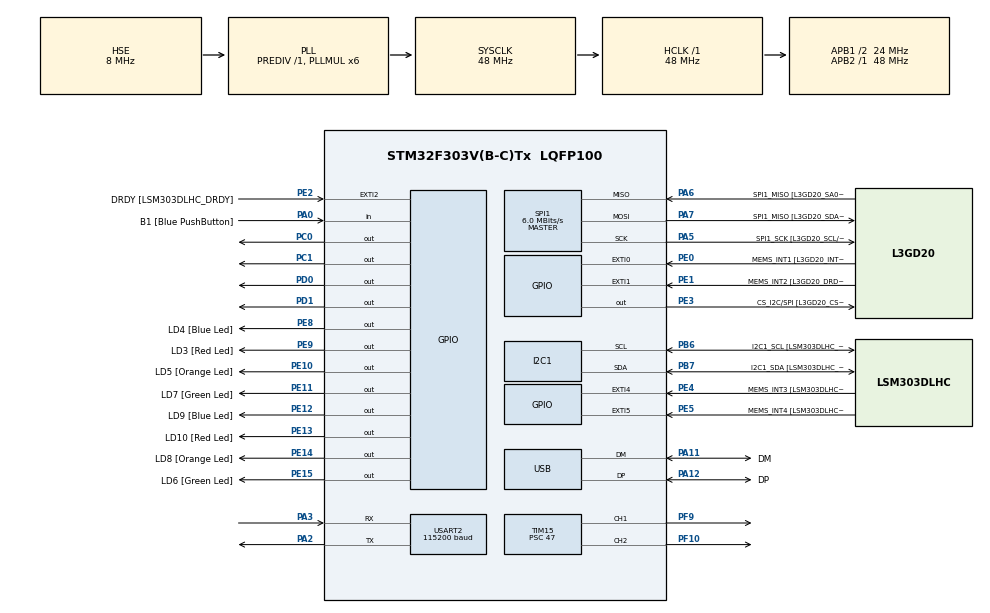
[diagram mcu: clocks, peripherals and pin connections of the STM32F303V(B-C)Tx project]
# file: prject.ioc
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I2C1.Timing=0x00201D2B
I2C1.Timing-I2C=0x2000090E
Mcu.Family=STM32F3
Mcu.Name=STM32F303V(B-C)Tx
Mcu.Package=LQFP100
NVIC.PriorityGroup=NVIC_PRIORITYGROUP_0
NVIC.TIM2_IRQn=true\:0\:0\:false\:false\:true\:true\:true\:true
NVIC.USART2_IRQn=true\:0\:0\:false\:false\:true\:true\:true\:true
PA0.GPIO_Label=B1 [Blue PushButton]
PA0.Signal=GPIO_Input
PA11.GPIO_Label=DM
PA11.Mode=Device
PA11.Signal=USB_DM
PA12.GPIO_Label=DP
PA12.Mode=Device
PA12.Signal=USB_DP
PA13.GPIO_Label=SWDIO
PA13.Mode=Serial_Wire
PA13.Signal=SYS_JTMS-SWDIO
PA14.GPIO_Label=SWCLK
PA14.Mode=Serial_Wire
PA14.Signal=SYS_JTCK-SWCLK
PA2.Mode=Asynchronous
PA2.Signal=USART2_TX
PA3.Mode=Asynchronous
PA3.Signal=USART2_RX
PA5.GPIO_Label=SPI1_SCK [L3GD20_SCL/SPC]
PA5.Mode=Full_Duplex_Master
PA5.Signal=SPI1_SCK
PA6.GPIO_Label=SPI1_MISO [L3GD20_SA0/SDO]
PA6.Mode=Full_Duplex_Master
PA6.Signal=SPI1_MISO
PA7.GPIO_Label=SPI1_MISO [L3GD20_SDA/SDI/SDO]
PA7.Mode=Full_Duplex_Master
PA7.Signal=SPI1_MOSI
PB3.GPIO_Label=SWO
PB3.Signal=SYS_JTDO-TRACESWO
PB6.GPIO_Label=I2C1_SCL [LSM303DLHC_SCL]
PB6.GPIO_Pu=GPIO_PULLUP
PB6.Mode=I2C
PB6.Signal=I2C1_SCL
PB7.GPIO_Label=I2C1_SDA [LSM303DLHC_SDA]
PB7.GPIO_Pu=GPIO_PULLUP
PB7.Mode=I2C
PB7.Signal=I2C1_SDA
PC0.Signal=GPIO_Output
PC1.Signal=GPIO_Output
PC14-OSC32_IN.GPIO_Label=OSC32_IN
PC14-OSC32_IN.Signal=RCC_OSC32_IN
PC15-OSC32_OUT.GPIO_Label=OSC32_OUT
PC15-OSC32_OUT.Signal=RCC_OSC32_OUT
PC6.Signal=S_TIM3_CH1
PC7.Signal=S_TIM3_CH2
PD0.Signal=GPIO_Output
PD1.Signal=GPIO_Output
PE0.GPIO_Label=MEMS_INT1 [L3GD20_INT1]
PE0.GPIO_ModeDefaultEXTI=GPIO_MODE_EVT_RISING
PE0.Signal=GPXTI0
PE1.GPIO_Label=MEMS_INT2 [L3GD20_DRDY/INT2]
PE1.GPIO_ModeDefaultEXTI=GPIO_MODE_EVT_RISING
PE1.Signal=GPXTI1
PE10.GPIO_Label=LD5 [Orange Led]
PE10.Signal=GPIO_Output
PE11.GPIO_Label=LD7 [Green Led]
PE11.Signal=GPIO_Output
PE12.GPIO_Label=LD9 [Blue Led]
PE12.Signal=GPIO_Output
PE13.GPIO_Label=LD10 [Red Led]
PE13.Signal=GPIO_Output
PE14.GPIO_Label=LD8 [Orange Led]
PE14.Signal=GPIO_Output
PE15.GPIO_Label=LD6 [Green Led]
PE15.Signal=GPIO_Output
PE2.GPIO_Label=DRDY [LSM303DLHC_DRDY]
PE2.GPIO_ModeDefaultEXTI=GPIO_MODE_EVT_RISING
PE2.Signal=GPXTI2
PE3.GPIO_Label=CS_I2C/SPI [L3GD20_CS_I2C/SPI]
PE3.Signal=GPIO_Output
PE4.GPIO_Label=MEMS_INT3 [LSM303DLHC_INT1]
PE4.GPIO_ModeDefaultEXTI=GPIO_MODE_EVT_RISING
PE4.Signal=GPXTI4
PE5.GPIO_Label=MEMS_INT4 [LSM303DLHC_INT2]
PE5.GPIO_ModeDefaultEXTI=GPIO_MODE_EVT_RISING
PE5.Signal=GPXTI5
PE8.GPIO_Label=LD4 [Blue Led]
PE8.Signal=GPIO_Output
PE9.GPIO_Label=LD3 [Red Led]
PE9.Signal=GPIO_Output
PF0-OSC_IN.GPIO_Label=OSC_IN
PF0-OSC_IN.Mode=HSE-External-Clock-Source
PF0-OSC_IN.Signal=RCC_OSC_IN
PF1-OSC_OUT.GPIO_Label=OSC_OUT
PF1-OSC_OUT.Signal=RCC_OSC_OUT
PF10.Signal=S_TIM15_CH2
PF9.Signal=S_TIM15_CH1
ProjectManager.HeapSize=0x200
ProjectManager.StackSize=0x400
ProjectManager.TargetToolchain=CMake
RCC.AHBFreq_Value=48000000
RCC.APB1CLKDivider=RCC_HCLK_DIV2
RCC.APB1Freq_Value=24000000
RCC.APB1TimFreq_Value=48000000
RCC.APB2Freq_Value=48000000
RCC.APB2TimFreq_Value=48000000
RCC.CortexFreq_Value=48000000
RCC.HCLKFreq_Value=48000000
RCC.HSE_VALUE=8000000
RCC.HSI_VALUE=8000000
RCC.LSE_VALUE=32768
RCC.PLLMUL=RCC_PLL_MUL6
RCC.SYSCLKFreq_VALUE=48000000
RCC.SYSCLKSourceVirtual=RCC_SYSCLKSOURCE_PLLCLK
RCC.USBFreq_Value=48000000
SH.S_TIM15_CH1.0=TIM15_CH1,PWM Generation1 CH1
SH.S_TIM15_CH2.0=TIM15_CH2,PWM Generation2 CH2
SH.S_TIM3_CH1.0=TIM3_CH1
SH.S_TIM3_CH2.0=TIM3_CH2
SPI1.BaudRatePrescaler=SPI_BAUDRATEPRESCALER_8
SPI1.BaudRatePrescaler-Full_Duplex_Master=SPI_BAUDRATEPRESCALER_2
SPI1.CLKPhase=SPI_PHASE_2EDGE
SPI1.CLKPolarity=SPI_POLARITY_HIGH
SPI1.CRCCalculation=SPI_CRCCALCULATION_DISABLE
SPI1.CalculateBaudRate=6.0 MBits/s
SPI1.CalculateBaudRate-Full_Duplex_Master=24.0 MBits/s
SPI1.DataSize=SPI_DATASIZE_8BIT
SPI1.Direction=SPI_DIRECTION_2LINES
SPI1.Mode=SPI_MODE_MASTER
SPI1.Mode-Full_Duplex_Master=SPI_MODE_MASTER
SPI1.VirtualType=VM_MASTER
TIM15.Channel-PWM\ Generation1\ CH1=TIM_CHANNEL_1
TIM15.Channel-PWM\ Generation2\ CH2=TIM_CHANNEL_2
TIM15.Period=999
TIM15.Prescaler=47
TIM2.Period=99
TIM2.Prescaler=4799
USART2.BaudRate=115200
USART2.VirtualMode-Asynchronous=VM_ASYNC
VP_TIM15_VS_ClockSourceINT.Mode=Internal
VP_TIM2_VS_ClockSourceINT.Mode=Internal
board=STM32F3DISCOVERY

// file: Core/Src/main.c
/* USER CODE BEGIN Header */
/**
  ******************************************************************************
  * @file           : main.c
  * @brief          : Main program body
  ******************************************************************************
  * @attention
  *
  * Copyright (c) 2026 STMicroelectronics.
  * All rights reserved.
  *
  * This software is licensed under terms that can be found in the LICENSE file
  * in the root directory of this software component.
  * If no LICENSE file comes with this software, it is provided AS-IS.
  *
  ******************************************************************************
  */
/* USER CODE END Header */
#include "main.h"

/* USER CODE BEGIN Includes */
#include <stdarg.h>
#include <math.h>
#include <stdint.h>
#include <stdio.h>
#include "imu.h"
#include "pid.h"
#include "stm32f3xx_hal.h"
/* USER CODE END Includes */

/* USER CODE BEGIN PD */
#define TELEMETRY_DIVIDER  2U   // 100 Hz / 2 = 50 Hz UART output
#define BALANCE_SETPOINT_DEG      0.0f   // default upright setpoint
#define DRIVE_SETPOINT_STEP_DEG   1.0f   // degrees shifted per F/B command
#define DRIVE_SETPOINT_MAX_DEG    4.0f  // max lean allowed via UART command
#define BALANCE_PID_KP            10.05f
#define BALANCE_PID_KI            0.08f
#define BALANCE_PID_KD            0.205f
#define BALANCE_CMD_LIMIT_PERCENT  100.0f
#define BALANCE_FALL_LIMIT_DEG     45.0f
#define MOTOR_DEADBAND_PERCENT     0.0f

// Direction-specific drive gains (tune these to handle asymmetry).
// Positive command: IN1=1, IN2=0. Negative command: IN1=0, IN2=1.
#define LEFT_CMD_GAIN_POS_DIR      1.0f
#define RIGHT_CMD_GAIN_POS_DIR     1.0f
#define LEFT_CMD_GAIN_NEG_DIR      1.0f
#define RIGHT_CMD_GAIN_NEG_DIR     1.0f

/* USER CODE END PD */

I2C_HandleTypeDef hi2c1;

SPI_HandleTypeDef hspi1;

TIM_HandleTypeDef htim2;
TIM_HandleTypeDef htim15;

UART_HandleTypeDef huart2;

PCD_HandleTypeDef hpcd_USB_FS;

/* USER CODE BEGIN PV */
struct imu_output output;
PID_Controller balance_pid;
PID_Controller speed_pid;
volatile uint8_t imu_ready = 0;
static uint8_t telemetry_counter = 0;

/* UART2 RX: single-byte interrupt buffer and live setpoint */
static uint8_t uart2_rx_byte = 0;
volatile float g_balance_setpoint = BALANCE_SETPOINT_DEG;
/* USER CODE END PV */

void SystemClock_Config(void);
static void MX_GPIO_Init(void);
static void MX_I2C1_Init(void);
static void MX_SPI1_Init(void);
static void MX_TIM2_Init(void);
static void MX_USART2_UART_Init(void);
static void MX_TIM15_Init(void);
static void MX_USB_PCD_Init(void);
/* USER CODE BEGIN PFP */
static uint32_t Motor_Left_ApplyCommand(float command_percent);
static uint32_t Motor_Right_ApplyCommand(float command_percent);
static void Robot_Stop_All(void);

/* USER CODE END PFP */

/* USER CODE BEGIN 0 */

static float ClampFloat(float value, float min_value, float max_value)
{
  if (value < min_value)
  {
    return min_value;
  }
  if (value > max_value)
  {
    return max_value;
  }
  return value;
}

static float ApplyDirectionalGain(float command_percent,
                                  float positive_gain,
                                  float negative_gain)
{
  if (command_percent >= 0.0f)
  {
    return command_percent * positive_gain;
  }
  return command_percent * negative_gain;
}

static uint32_t Motor_Left_ApplyCommand(float command_percent)
{
  command_percent = ApplyDirectionalGain(command_percent,
                                         LEFT_CMD_GAIN_POS_DIR,
                                         LEFT_CMD_GAIN_NEG_DIR);
  command_percent = ClampFloat(command_percent, -100.0f, 100.0f);

  if (fabsf(command_percent) < MOTOR_DEADBAND_PERCENT)
  {
    HAL_GPIO_WritePin(LEFT_MOTOR_IN1_GPIO_Port, LEFT_MOTOR_IN1_Pin, GPIO_PIN_RESET);
    HAL_GPIO_WritePin(LEFT_MOTOR_IN2_GPIO_Port, LEFT_MOTOR_IN2_Pin, GPIO_PIN_RESET);
    __HAL_TIM_SET_COMPARE(&htim15, LEFT_PWM_CHANNEL, 0U);
    return 0U;
  }

  if (command_percent > 0.0f)
  {
    HAL_GPIO_WritePin(LEFT_MOTOR_IN1_GPIO_Port, LEFT_MOTOR_IN1_Pin, GPIO_PIN_SET);
    HAL_GPIO_WritePin(LEFT_MOTOR_IN2_GPIO_Port, LEFT_MOTOR_IN2_Pin, GPIO_PIN_RESET);
  }
  else
  {
    HAL_GPIO_WritePin(LEFT_MOTOR_IN1_GPIO_Port, LEFT_MOTOR_IN1_Pin, GPIO_PIN_RESET);
    HAL_GPIO_WritePin(LEFT_MOTOR_IN2_GPIO_Port, LEFT_MOTOR_IN2_Pin, GPIO_PIN_SET);
  }

    uint32_t pulse = (uint32_t)(fabsf(command_percent) * 10);
  __HAL_TIM_SET_COMPARE(&htim15, LEFT_PWM_CHANNEL, pulse);
  return pulse;
}

static uint32_t Motor_Right_ApplyCommand(float command_percent)
{
  command_percent = ApplyDirectionalGain(command_percent,
                                         RIGHT_CMD_GAIN_POS_DIR,
                                         RIGHT_CMD_GAIN_NEG_DIR);
  command_percent = ClampFloat(command_percent, -100.0f, 100.0f);

  if (fabsf(command_percent) < MOTOR_DEADBAND_PERCENT)
  {
    HAL_GPIO_WritePin(RIGHT_MOTOR_IN1_GPIO_Port, RIGHT_MOTOR_IN1_Pin, GPIO_PIN_RESET);
    HAL_GPIO_WritePin(RIGHT_MOTOR_IN2_GPIO_Port, RIGHT_MOTOR_IN2_Pin, GPIO_PIN_RESET);
    __HAL_TIM_SET_COMPARE(&htim15, RIGHT_PWM_CHANNEL, 0U);
    return 0U;
  }

  if (command_percent > 0.0f)
  {
    HAL_GPIO_WritePin(RIGHT_MOTOR_IN1_GPIO_Port, RIGHT_MOTOR_IN1_Pin, GPIO_PIN_SET);
    HAL_GPIO_WritePin(RIGHT_MOTOR_IN2_GPIO_Port, RIGHT_MOTOR_IN2_Pin, GPIO_PIN_RESET);
  }
  else
  {
    HAL_GPIO_WritePin(RIGHT_MOTOR_IN1_GPIO_Port, RIGHT_MOTOR_IN1_Pin, GPIO_PIN_RESET);
    HAL_GPIO_WritePin(RIGHT_MOTOR_IN2_GPIO_Port, RIGHT_MOTOR_IN2_Pin, GPIO_PIN_SET);
  }

  uint32_t pulse = (uint32_t)((fabsf(command_percent) * 10));
  __HAL_TIM_SET_COMPARE(&htim15, RIGHT_PWM_CHANNEL, pulse);
  return pulse;
}

static void Robot_Stop_All(void)
{
  HAL_GPIO_WritePin(LEFT_MOTOR_IN1_GPIO_Port, LEFT_MOTOR_IN1_Pin, GPIO_PIN_RESET);
  HAL_GPIO_WritePin(LEFT_MOTOR_IN2_GPIO_Port, LEFT_MOTOR_IN2_Pin, GPIO_PIN_RESET);
  HAL_GPIO_WritePin(RIGHT_MOTOR_IN1_GPIO_Port, RIGHT_MOTOR_IN1_Pin, GPIO_PIN_RESET);
  HAL_GPIO_WritePin(RIGHT_MOTOR_IN2_GPIO_Port, RIGHT_MOTOR_IN2_Pin, GPIO_PIN_RESET);
  __HAL_TIM_SET_COMPARE(&htim15, LEFT_PWM_CHANNEL, 0U);
  __HAL_TIM_SET_COMPARE(&htim15, RIGHT_PWM_CHANNEL, 0U);
}
void myPrintf (const char *fmt , ...){
      char buffer[256];
      va_list args;
      va_start (args, fmt);
      int len = vsnprintf (buffer, sizeof(buffer), fmt, args);
      va_end (args);
      HAL_UART_Transmit(&huart2, (uint8_t*)buffer, len, HAL_MAX_DELAY);
}

void HAL_TIM_PeriodElapsedCallback(TIM_HandleTypeDef *htim)
{
    if (htim->Instance == TIM2)
    {
      if (imu_ready == 0)
      {
        return;
      }

      // --- Begin control loop (was in main loop) ---
      // Encoder_UpdateDeltas();
      output = IMU_UpdateAngle(&hspi1, &hi2c1);

      if (fabsf(output.tilt_angle) > BALANCE_FALL_LIMIT_DEG)
      {
        Robot_Stop_All();
      }
      else
      {
        float balance_command = PID_Update(&balance_pid,
                           g_balance_setpoint,
                           output.tilt_angle,
                           DT);

        Motor_Left_ApplyCommand(-balance_command);
        Motor_Right_ApplyCommand(-balance_command);
        telemetry_counter++;
        if (telemetry_counter >= TELEMETRY_DIVIDER)
        {
          telemetry_counter = 0;
          myPrintf("tilt=%.2f gyro=%.2f acc=%.2f, setpoint=%.2f\r\n",
             output.tilt_angle,
             output.gyro_x,
             output.acc_x,
             g_balance_setpoint);
        }
      }
      // --- End control loop ---
    }
}

/**
  * @brief UART2 RX complete callback — handles one received byte.
  *        Commands:
  *          'F' = lean forward  (setpoint += DRIVE_SETPOINT_STEP_DEG)
  *          'B' = lean backward (setpoint -= DRIVE_SETPOINT_STEP_DEG)
  *          '0' = stop / reset setpoint to 0
  * Re-arms the single-byte interrupt receive automatically.
  */
void HAL_UART_RxCpltCallback(UART_HandleTypeDef *huart)
{
  if (huart->Instance == USART2)
  {
    switch (uart2_rx_byte)
    {
      case 'F':
        g_balance_setpoint += DRIVE_SETPOINT_STEP_DEG;
        if (g_balance_setpoint > DRIVE_SETPOINT_MAX_DEG)
          g_balance_setpoint = DRIVE_SETPOINT_MAX_DEG;
        break;

      case 'B':
        g_balance_setpoint -= DRIVE_SETPOINT_STEP_DEG;
        if (g_balance_setpoint < -DRIVE_SETPOINT_MAX_DEG)
          g_balance_setpoint = -DRIVE_SETPOINT_MAX_DEG;
        break;

      case '0':
        g_balance_setpoint = 0.0f;
        break;
    }
    /* Re-arm the interrupt receive for the next byte */
    HAL_UART_Receive_IT(&huart2, &uart2_rx_byte, 1);
  }
}

/* USER CODE END 0 */

int main(void)
{

  /* MCU Configuration--------------------------------------------------------*/

  /* Reset of all peripherals, Initializes the Flash interface and the Systick. */
  HAL_Init();

  /* Configure the system clock */
  SystemClock_Config();

  /* Initialize all configured peripherals */
  MX_GPIO_Init();
  MX_I2C1_Init();
  MX_SPI1_Init();
  MX_TIM2_Init();
  MX_USART2_UART_Init();
  MX_TIM15_Init();
  MX_USB_PCD_Init();
  /* USER CODE BEGIN 2 */
  IMU_Init(&hspi1, &hi2c1);
  PID_Init(&balance_pid,
           BALANCE_PID_KP,
           BALANCE_PID_KI,
           BALANCE_PID_KD,
           -BALANCE_CMD_LIMIT_PERCENT,
           BALANCE_CMD_LIMIT_PERCENT);
  PID_SetIntegralLimits(&balance_pid, -20.0f, 20.0f);
  HAL_TIM_PWM_Start(&htim15, LEFT_PWM_CHANNEL);
  HAL_TIM_PWM_Start(&htim15, RIGHT_PWM_CHANNEL);
  Robot_Stop_All();

  myPrintf("Sampling...\r\n");
  IMU_OffsetCalibrate(&hspi1, &hi2c1);  // keep robot still & upright here!
  imu_ready = 1;
  myPrintf("Sampling complete. Streaming angle values.\r\n");

  HAL_TIM_Base_Start_IT(&htim2);        // start 100 Hz timer interrupt

  /* Start UART2 RX interrupt — receives one byte at a time */
  HAL_UART_Receive_IT(&huart2, &uart2_rx_byte, 1);
  /* USER CODE END 2 */

  /* Infinite loop */
  /* USER CODE BEGIN WHILE */
  while (1)
  {
    // Main loop is now empty; all control logic is in TIM2 ISR
    /* USER CODE END WHILE */

  }
}

void SystemClock_Config(void)
{
  RCC_OscInitTypeDef RCC_OscInitStruct = {0};
  RCC_ClkInitTypeDef RCC_ClkInitStruct = {0};
  RCC_PeriphCLKInitTypeDef PeriphClkInit = {0};

  /** Initializes the RCC Oscillators according to the specified parameters
  * in the RCC_OscInitTypeDef structure.
  */
  RCC_OscInitStruct.OscillatorType = RCC_OSCILLATORTYPE_HSI|RCC_OSCILLATORTYPE_HSE;
  RCC_OscInitStruct.HSEState = RCC_HSE_BYPASS;
  RCC_OscInitStruct.HSEPredivValue = RCC_HSE_PREDIV_DIV1;
  RCC_OscInitStruct.HSIState = RCC_HSI_ON;
  RCC_OscInitStruct.HSICalibrationValue = RCC_HSICALIBRATION_DEFAULT;
  RCC_OscInitStruct.PLL.PLLState = RCC_PLL_ON;
  RCC_OscInitStruct.PLL.PLLSource = RCC_PLLSOURCE_HSE;
  RCC_OscInitStruct.PLL.PLLMUL = RCC_PLL_MUL6;
  if (HAL_RCC_OscConfig(&RCC_OscInitStruct) != HAL_OK)
  {
    Error_Handler();
  }

  /** Initializes the CPU, AHB and APB buses clocks
  */
  RCC_ClkInitStruct.ClockType = RCC_CLOCKTYPE_HCLK|RCC_CLOCKTYPE_SYSCLK
                              |RCC_CLOCKTYPE_PCLK1|RCC_CLOCKTYPE_PCLK2;
  RCC_ClkInitStruct.SYSCLKSource = RCC_SYSCLKSOURCE_PLLCLK;
  RCC_ClkInitStruct.AHBCLKDivider = RCC_SYSCLK_DIV1;
  RCC_ClkInitStruct.APB1CLKDivider = RCC_HCLK_DIV2;
  RCC_ClkInitStruct.APB2CLKDivider = RCC_HCLK_DIV1;

  if (HAL_RCC_ClockConfig(&RCC_ClkInitStruct, FLASH_LATENCY_1) != HAL_OK)
  {
    Error_Handler();
  }
  PeriphClkInit.PeriphClockSelection = RCC_PERIPHCLK_USB|RCC_PERIPHCLK_USART2
                              |RCC_PERIPHCLK_I2C1;
  PeriphClkInit.Usart2ClockSelection = RCC_USART2CLKSOURCE_PCLK1;
  PeriphClkInit.I2c1ClockSelection = RCC_I2C1CLKSOURCE_HSI;
  PeriphClkInit.USBClockSelection = RCC_USBCLKSOURCE_PLL;
  if (HAL_RCCEx_PeriphCLKConfig(&PeriphClkInit) != HAL_OK)
  {
    Error_Handler();
  }
}

static void MX_I2C1_Init(void)
{

  hi2c1.Instance = I2C1;
  hi2c1.Init.Timing = 0x00201D2B;
  hi2c1.Init.OwnAddress1 = 0;
  hi2c1.Init.AddressingMode = I2C_ADDRESSINGMODE_7BIT;
  hi2c1.Init.DualAddressMode = I2C_DUALADDRESS_DISABLE;
  hi2c1.Init.OwnAddress2 = 0;
  hi2c1.Init.OwnAddress2Masks = I2C_OA2_NOMASK;
  hi2c1.Init.GeneralCallMode = I2C_GENERALCALL_DISABLE;
  hi2c1.Init.NoStretchMode = I2C_NOSTRETCH_DISABLE;
  if (HAL_I2C_Init(&hi2c1) != HAL_OK)
  {
    Error_Handler();
  }

  /** Configure Analogue filter
  */
  if (HAL_I2CEx_ConfigAnalogFilter(&hi2c1, I2C_ANALOGFILTER_ENABLE) != HAL_OK)
  {
    Error_Handler();
  }

  /** Configure Digital filter
  */
  if (HAL_I2CEx_ConfigDigitalFilter(&hi2c1, 0) != HAL_OK)
  {
    Error_Handler();
  }

}

static void MX_SPI1_Init(void)
{

  /* SPI1 parameter configuration*/
  hspi1.Instance = SPI1;
  hspi1.Init.Mode = SPI_MODE_MASTER;
  hspi1.Init.Direction = SPI_DIRECTION_2LINES;
  hspi1.Init.DataSize = SPI_DATASIZE_8BIT;
  hspi1.Init.CLKPolarity = SPI_POLARITY_HIGH;
  hspi1.Init.CLKPhase = SPI_PHASE_2EDGE;
  hspi1.Init.NSS = SPI_NSS_SOFT;
  hspi1.Init.BaudRatePrescaler = SPI_BAUDRATEPRESCALER_8;
  hspi1.Init.FirstBit = SPI_FIRSTBIT_MSB;
  hspi1.Init.TIMode = SPI_TIMODE_DISABLE;
  hspi1.Init.CRCCalculation = SPI_CRCCALCULATION_DISABLE;
  hspi1.Init.CRCPolynomial = 7;
  hspi1.Init.CRCLength = SPI_CRC_LENGTH_DATASIZE;
  hspi1.Init.NSSPMode = SPI_NSS_PULSE_DISABLE;
  if (HAL_SPI_Init(&hspi1) != HAL_OK)
  {
    Error_Handler();
  }

}

static void MX_TIM2_Init(void)
{

  TIM_ClockConfigTypeDef sClockSourceConfig = {0};
  TIM_MasterConfigTypeDef sMasterConfig = {0};

  htim2.Instance = TIM2;
  htim2.Init.Prescaler = 4799;
  htim2.Init.CounterMode = TIM_COUNTERMODE_UP;
  htim2.Init.Period = 99;
  htim2.Init.ClockDivision = TIM_CLOCKDIVISION_DIV1;
  htim2.Init.AutoReloadPreload = TIM_AUTORELOAD_PRELOAD_DISABLE;
  if (HAL_TIM_Base_Init(&htim2) != HAL_OK)
  {
    Error_Handler();
  }
  sClockSourceConfig.ClockSource = TIM_CLOCKSOURCE_INTERNAL;
  if (HAL_TIM_ConfigClockSource(&htim2, &sClockSourceConfig) != HAL_OK)
  {
    Error_Handler();
  }
  sMasterConfig.MasterOutputTrigger = TIM_TRGO_RESET;
  sMasterConfig.MasterSlaveMode = TIM_MASTERSLAVEMODE_DISABLE;
  if (HAL_TIMEx_MasterConfigSynchronization(&htim2, &sMasterConfig) != HAL_OK)
  {
    Error_Handler();
  }

}

static void MX_TIM15_Init(void)
{

  TIM_ClockConfigTypeDef sClockSourceConfig = {0};
  TIM_MasterConfigTypeDef sMasterConfig = {0};
  TIM_OC_InitTypeDef sConfigOC = {0};
  TIM_BreakDeadTimeConfigTypeDef sBreakDeadTimeConfig = {0};

  htim15.Instance = TIM15;
  htim15.Init.Prescaler = 47;
  htim15.Init.CounterMode = TIM_COUNTERMODE_UP;
  htim15.Init.Period = 999;
  htim15.Init.ClockDivision = TIM_CLOCKDIVISION_DIV1;
  htim15.Init.RepetitionCounter = 0;
  htim15.Init.AutoReloadPreload = TIM_AUTORELOAD_PRELOAD_DISABLE;
  if (HAL_TIM_Base_Init(&htim15) != HAL_OK)
  {
    Error_Handler();
  }
  sClockSourceConfig.ClockSource = TIM_CLOCKSOURCE_INTERNAL;
  if (HAL_TIM_ConfigClockSource(&htim15, &sClockSourceConfig) != HAL_OK)
  {
    Error_Handler();
  }
  if (HAL_TIM_PWM_Init(&htim15) != HAL_OK)
  {
    Error_Handler();
  }
  sMasterConfig.MasterOutputTrigger = TIM_TRGO_RESET;
  sMasterConfig.MasterSlaveMode = TIM_MASTERSLAVEMODE_DISABLE;
  if (HAL_TIMEx_MasterConfigSynchronization(&htim15, &sMasterConfig) != HAL_OK)
  {
    Error_Handler();
  }
  sConfigOC.OCMode = TIM_OCMODE_PWM1;
  sConfigOC.Pulse = 0;
  sConfigOC.OCPolarity = TIM_OCPOLARITY_HIGH;
  sConfigOC.OCNPolarity = TIM_OCNPOLARITY_HIGH;
  sConfigOC.OCFastMode = TIM_OCFAST_DISABLE;
  sConfigOC.OCIdleState = TIM_OCIDLESTATE_RESET;
  sConfigOC.OCNIdleState = TIM_OCNIDLESTATE_RESET;
  if (HAL_TIM_PWM_ConfigChannel(&htim15, &sConfigOC, TIM_CHANNEL_1) != HAL_OK)
  {
    Error_Handler();
  }
  if (HAL_TIM_PWM_ConfigChannel(&htim15, &sConfigOC, TIM_CHANNEL_2) != HAL_OK)
  {
    Error_Handler();
  }
  sBreakDeadTimeConfig.OffStateRunMode = TIM_OSSR_DISABLE;
  sBreakDeadTimeConfig.OffStateIDLEMode = TIM_OSSI_DISABLE;
  sBreakDeadTimeConfig.LockLevel = TIM_LOCKLEVEL_OFF;
  sBreakDeadTimeConfig.DeadTime = 0;
  sBreakDeadTimeConfig.BreakState = TIM_BREAK_DISABLE;
  sBreakDeadTimeConfig.BreakPolarity = TIM_BREAKPOLARITY_HIGH;
  sBreakDeadTimeConfig.BreakFilter = 0;
  sBreakDeadTimeConfig.AutomaticOutput = TIM_AUTOMATICOUTPUT_DISABLE;
  if (HAL_TIMEx_ConfigBreakDeadTime(&htim15, &sBreakDeadTimeConfig) != HAL_OK)
  {
    Error_Handler();
  }
  HAL_TIM_MspPostInit(&htim15);

}

static void MX_USART2_UART_Init(void)
{

  huart2.Instance = USART2;
  huart2.Init.BaudRate = 115200;
  huart2.Init.WordLength = UART_WORDLENGTH_8B;
  huart2.Init.StopBits = UART_STOPBITS_1;
  huart2.Init.Parity = UART_PARITY_NONE;
  huart2.Init.Mode = UART_MODE_TX_RX;
  huart2.Init.HwFlowCtl = UART_HWCONTROL_NONE;
  huart2.Init.OverSampling = UART_OVERSAMPLING_16;
  huart2.Init.OneBitSampling = UART_ONE_BIT_SAMPLE_DISABLE;
  huart2.AdvancedInit.AdvFeatureInit = UART_ADVFEATURE_NO_INIT;
  if (HAL_UART_Init(&huart2) != HAL_OK)
  {
    Error_Handler();
  }

}

static void MX_USB_PCD_Init(void)
{

  hpcd_USB_FS.Instance = USB;
  hpcd_USB_FS.Init.dev_endpoints = 8;
  hpcd_USB_FS.Init.speed = PCD_SPEED_FULL;
  hpcd_USB_FS.Init.phy_itface = PCD_PHY_EMBEDDED;
  hpcd_USB_FS.Init.low_power_enable = DISABLE;
  hpcd_USB_FS.Init.battery_charging_enable = DISABLE;
  if (HAL_PCD_Init(&hpcd_USB_FS) != HAL_OK)
  {
    Error_Handler();
  }

}

static void MX_GPIO_Init(void)
{
  GPIO_InitTypeDef GPIO_InitStruct = {0};

  /* GPIO Ports Clock Enable */
  __HAL_RCC_GPIOE_CLK_ENABLE();
  __HAL_RCC_GPIOC_CLK_ENABLE();
  __HAL_RCC_GPIOF_CLK_ENABLE();
  __HAL_RCC_GPIOA_CLK_ENABLE();
  __HAL_RCC_GPIOD_CLK_ENABLE();
  __HAL_RCC_GPIOB_CLK_ENABLE();

  /*Configure GPIO pin Output Level */
  HAL_GPIO_WritePin(GPIOE, CS_I2C_SPI_Pin|LD4_Pin|LD3_Pin|LD5_Pin
                          |LD7_Pin|LD9_Pin|LD10_Pin|LD8_Pin
                          |LD6_Pin, GPIO_PIN_RESET);

  /*Configure GPIO pin Output Level */
  HAL_GPIO_WritePin(GPIOC, GPIO_PIN_0|GPIO_PIN_1, GPIO_PIN_RESET);

  /*Configure GPIO pin Output Level */
  HAL_GPIO_WritePin(GPIOD, GPIO_PIN_0|GPIO_PIN_1, GPIO_PIN_RESET);

  /*Configure GPIO pins : DRDY_Pin MEMS_INT3_Pin MEMS_INT4_Pin MEMS_INT1_Pin
                           MEMS_INT2_Pin */
  GPIO_InitStruct.Pin = DRDY_Pin|MEMS_INT3_Pin|MEMS_INT4_Pin|MEMS_INT1_Pin
                          |MEMS_INT2_Pin;
  GPIO_InitStruct.Mode = GPIO_MODE_EVT_RISING;
  GPIO_InitStruct.Pull = GPIO_NOPULL;
  HAL_GPIO_Init(GPIOE, &GPIO_InitStruct);

  /*Configure GPIO pins : CS_I2C_SPI_Pin LD4_Pin LD3_Pin LD5_Pin
                           LD7_Pin LD9_Pin LD10_Pin LD8_Pin
                           LD6_Pin */
  GPIO_InitStruct.Pin = CS_I2C_SPI_Pin|LD4_Pin|LD3_Pin|LD5_Pin
                          |LD7_Pin|LD9_Pin|LD10_Pin|LD8_Pin
                          |LD6_Pin;
  GPIO_InitStruct.Mode = GPIO_MODE_OUTPUT_PP;
  GPIO_InitStruct.Pull = GPIO_NOPULL;
  GPIO_InitStruct.Speed = GPIO_SPEED_FREQ_LOW;
  HAL_GPIO_Init(GPIOE, &GPIO_InitStruct);

  /*Configure GPIO pins : PC0 PC1 */
  GPIO_InitStruct.Pin = GPIO_PIN_0|GPIO_PIN_1;
  GPIO_InitStruct.Mode = GPIO_MODE_OUTPUT_PP;
  GPIO_InitStruct.Pull = GPIO_NOPULL;
  GPIO_InitStruct.Speed = GPIO_SPEED_FREQ_LOW;
  HAL_GPIO_Init(GPIOC, &GPIO_InitStruct);

  /*Configure GPIO pin : B1_Pin */
  GPIO_InitStruct.Pin = B1_Pin;
  GPIO_InitStruct.Mode = GPIO_MODE_INPUT;
  GPIO_InitStruct.Pull = GPIO_NOPULL;
  HAL_GPIO_Init(B1_GPIO_Port, &GPIO_InitStruct);

  /*Configure GPIO pins : PC6 PC7 */
  GPIO_InitStruct.Pin = GPIO_PIN_6|GPIO_PIN_7;
  GPIO_InitStruct.Mode = GPIO_MODE_AF_PP;
  GPIO_InitStruct.Pull = GPIO_NOPULL;
  GPIO_InitStruct.Speed = GPIO_SPEED_FREQ_LOW;
  GPIO_InitStruct.Alternate = GPIO_AF2_TIM3;
  HAL_GPIO_Init(GPIOC, &GPIO_InitStruct);

  /*Configure GPIO pins : PD0 PD1 */
  GPIO_InitStruct.Pin = GPIO_PIN_0|GPIO_PIN_1;
  GPIO_InitStruct.Mode = GPIO_MODE_OUTPUT_PP;
  GPIO_InitStruct.Pull = GPIO_NOPULL;
  GPIO_InitStruct.Speed = GPIO_SPEED_FREQ_LOW;
  HAL_GPIO_Init(GPIOD, &GPIO_InitStruct);

}

void Error_Handler(void)
{
  __disable_irq();
  while (1)
  {
  }
}
